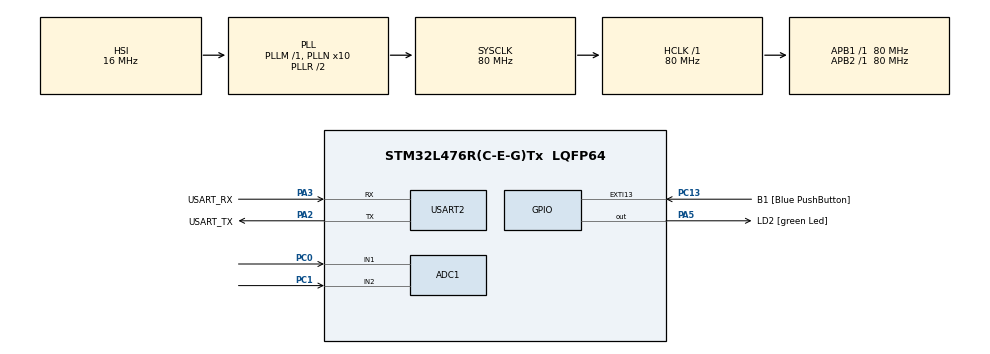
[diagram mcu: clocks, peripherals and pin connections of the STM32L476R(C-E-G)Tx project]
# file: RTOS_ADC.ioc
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ADC1.Channel-0\#ChannelRegularConversion=ADC_CHANNEL_1
ADC1.Channel-3\#ChannelRegularConversion=ADC_CHANNEL_2
ADC1.ClockPrescaler=ADC_CLOCK_ASYNC_DIV8
ADC1.ContinuousConvMode=ENABLE
ADC1.DiscontinuousConvMode=DISABLE
ADC1.EOCSelection=ADC_EOC_SEQ_CONV
ADC1.NbrOfConversion=2
ADC1.NbrOfConversionFlag=1
ADC1.OffsetNumber-0\#ChannelRegularConversion=ADC_OFFSET_NONE
ADC1.OffsetNumber-3\#ChannelRegularConversion=ADC_OFFSET_NONE
ADC1.Overrun=ADC_OVR_DATA_OVERWRITTEN
ADC1.Rank-0\#ChannelRegularConversion=1
ADC1.Rank-3\#ChannelRegularConversion=2
ADC1.SamplingTime-0\#ChannelRegularConversion=ADC_SAMPLETIME_6CYCLES_5
ADC1.SamplingTime-3\#ChannelRegularConversion=ADC_SAMPLETIME_6CYCLES_5
ADC1.master=1
FREERTOS.Tasks01=TaskADC_IN1,24,128,StartTaskADC_IN1,Default,channel,Dynamic,NULL,NULL;TaskADC_IN2,24,128,StartTaskADC_IN2,Default,channel,Dynamic,NULL,NULL
FREERTOS.configUSE_NEWLIB_REENTRANT=1
Mcu.Family=STM32L4
Mcu.Name=STM32L476R(C-E-G)Tx
Mcu.Package=LQFP64
NVIC.PriorityGroup=NVIC_PRIORITYGROUP_4
NVIC.TIM1_UP_TIM16_IRQn=true\:15\:0\:false\:false\:true\:false\:false\:true\:true
NVIC.TimeBase=TIM1_UP_TIM16_IRQn
NVIC.TimeBaseIP=TIM1
PA13\ (JTMS-SWDIO).GPIO_Label=TMS
PA13\ (JTMS-SWDIO).Mode=Serial_Wire
PA13\ (JTMS-SWDIO).Signal=SYS_JTMS-SWDIO
PA14\ (JTCK-SWCLK).GPIO_Label=TCK
PA14\ (JTCK-SWCLK).Mode=Serial_Wire
PA14\ (JTCK-SWCLK).Signal=SYS_JTCK-SWCLK
PA2.GPIO_Label=USART_TX
PA2.GPIO_Mode=GPIO_MODE_AF_PP
PA2.GPIO_PuPd=GPIO_NOPULL
PA2.GPIO_Speed=GPIO_SPEED_FREQ_VERY_HIGH
PA2.Mode=Asynchronous
PA2.Signal=USART2_TX
PA3.GPIO_Label=USART_RX
PA3.GPIO_Mode=GPIO_MODE_AF_PP
PA3.GPIO_PuPd=GPIO_NOPULL
PA3.GPIO_Speed=GPIO_SPEED_FREQ_VERY_HIGH
PA3.Mode=Asynchronous
PA3.Signal=USART2_RX
PA5.GPIO_Label=LD2 [green Led]
PA5.GPIO_ModeDefaultOutputPP=GPIO_MODE_OUTPUT_PP
PA5.GPIO_PuPd=GPIO_NOPULL
PA5.GPIO_Speed=GPIO_SPEED_FREQ_LOW
PA5.Signal=GPIO_Output
PB3\ (JTDO-TRACESWO).GPIO_Label=SWO
PB3\ (JTDO-TRACESWO).Signal=SYS_JTDO-SWO
PC0.Signal=ADCx_IN1
PC1.Signal=ADCx_IN2
PC13.GPIO_Label=B1 [Blue PushButton]
PC13.GPIO_ModeDefaultEXTI=GPIO_MODE_IT_FALLING
PC13.GPIO_PuPd=GPIO_NOPULL
PC13.Signal=GPXTI13
PC14-OSC32_IN\ (PC14).Mode=LSE-External-Oscillator
PC14-OSC32_IN\ (PC14).Signal=RCC_OSC32_IN
PC15-OSC32_OUT\ (PC15).Mode=LSE-External-Oscillator
PC15-OSC32_OUT\ (PC15).Signal=RCC_OSC32_OUT
PH0-OSC_IN\ (PH0).Signal=RCC_OSC_IN
PH1-OSC_OUT\ (PH1).Signal=RCC_OSC_OUT
ProjectManager.HeapSize=0x200
ProjectManager.StackSize=0x400
ProjectManager.TargetToolchain=STM32CubeIDE
RCC.ADCFreq_Value=64000000
RCC.AHBFreq_Value=80000000
RCC.APB1Freq_Value=80000000
RCC.APB1TimFreq_Value=80000000
RCC.APB2Freq_Value=80000000
RCC.APB2TimFreq_Value=80000000
RCC.CortexFreq_Value=80000000
RCC.HCLKFreq_Value=80000000
RCC.HSE_VALUE=8000000
RCC.HSI_VALUE=16000000
RCC.MSI_VALUE=4000000
RCC.PLLN=10
RCC.PLLSourceVirtual=RCC_PLLSOURCE_HSI
RCC.PREFETCH_ENABLE=1
RCC.SYSCLKFreq_VALUE=80000000
RCC.SYSCLKSource=RCC_SYSCLKSOURCE_PLLCLK
RCC.USBFreq_Value=64000000
RCC.VCOOutputFreq_Value=160000000
SH.ADCx_IN1.0=ADC1_IN1,IN1-Single-Ended
SH.ADCx_IN2.0=ADC1_IN2,IN2-Single-Ended
USART2.VirtualMode-Asynchronous=VM_ASYNC
VP_FREERTOS_VS_CMSIS_V2.Mode=CMSIS_V2
VP_SYS_VS_tim1.Mode=TIM1
board=NUCLEO-L476RG

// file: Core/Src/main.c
/* USER CODE BEGIN Header */
/**
  ******************************************************************************
  * @file           : main.c
  * @brief          : Main program body
  ******************************************************************************
  * @attention
  *
  * Copyright (c) 2023 STMicroelectronics.
  * All rights reserved.
  *
  * This software is licensed under terms that can be found in the LICENSE file
  * in the root directory of this software component.
  * If no LICENSE file comes with this software, it is provided AS-IS.
  *
  ******************************************************************************
  */
/* USER CODE END Header */
#include "main.h"
#include "cmsis_os.h"

/* USER CODE BEGIN Includes */
#include <stdio.h>
#include <string.h>
/* USER CODE END Includes */

ADC_HandleTypeDef hadc1;

UART_HandleTypeDef huart2;

/* Definitions for TaskADC_IN1 */
osThreadId_t TaskADC_IN1Handle;
const osThreadAttr_t TaskADC_IN1_attributes = {
  .name = "TaskADC_IN1",
  .stack_size = 128 * 4,
  .priority = (osPriority_t) osPriorityNormal,
};
/* Definitions for TaskADC_IN2 */
osThreadId_t TaskADC_IN2Handle;
const osThreadAttr_t TaskADC_IN2_attributes = {
  .name = "TaskADC_IN2",
  .stack_size = 128 * 4,
  .priority = (osPriority_t) osPriorityNormal,
};
/* USER CODE BEGIN PV */
uint16_t adc[2];
char msg[20];
int *channel;
//int channel == 0;
/* USER CODE END PV */

void SystemClock_Config(void);
static void MX_GPIO_Init(void);
static void MX_USART2_UART_Init(void);
static void MX_ADC1_Init(void);
void StartTaskADC_IN1(void *argument);
void StartTaskADC_IN2(void *argument);

/* USER CODE BEGIN PFP */
//void ADC_Select_CH1(void);
//void ADC_Select_CH2(void);
void ADC_Select_CH(void);
/* USER CODE END PFP */

int main(void)
{

  /* MCU Configuration--------------------------------------------------------*/

  /* Reset of all peripherals, Initializes the Flash interface and the Systick. */
  HAL_Init();

  /* Configure the system clock */
  SystemClock_Config();

  /* Initialize all configured peripherals */
  MX_GPIO_Init();
  MX_USART2_UART_Init();
  MX_ADC1_Init();
  /* USER CODE BEGIN 2 */
  // Get ADC value
  //HAL_ADC_Start(&hadc1);
  //HAL_ADC_PollForConversion(&hadc1, HAL_MAX_DELAY);
  /* USER CODE END 2 */

  /* Init scheduler */
  osKernelInitialize();

  /* Create the thread(s) */
  /* creation of TaskADC_IN1 */
  *channel = 0;
  TaskADC_IN1Handle = osThreadNew(StartTaskADC_IN1, (void*) channel, &TaskADC_IN1_attributes);

  /* creation of TaskADC_IN2 */
  *channel = 1;
  TaskADC_IN2Handle = osThreadNew(StartTaskADC_IN1, (void*) channel, &TaskADC_IN2_attributes);

  /* Start scheduler */
  osKernelStart();
  /* We should never get here as control is now taken by the scheduler */
  /* Infinite loop */
  while (1)
  {

  }
}

void SystemClock_Config(void)
{
  RCC_OscInitTypeDef RCC_OscInitStruct = {0};
  RCC_ClkInitTypeDef RCC_ClkInitStruct = {0};

  /** Configure the main internal regulator output voltage
  */
  if (HAL_PWREx_ControlVoltageScaling(PWR_REGULATOR_VOLTAGE_SCALE1) != HAL_OK)
  {
    Error_Handler();
  }

  /** Initializes the RCC Oscillators according to the specified parameters
  * in the RCC_OscInitTypeDef structure.
  */
  RCC_OscInitStruct.OscillatorType = RCC_OSCILLATORTYPE_HSI;
  RCC_OscInitStruct.HSIState = RCC_HSI_ON;
  RCC_OscInitStruct.HSICalibrationValue = RCC_HSICALIBRATION_DEFAULT;
  RCC_OscInitStruct.PLL.PLLState = RCC_PLL_ON;
  RCC_OscInitStruct.PLL.PLLSource = RCC_PLLSOURCE_HSI;
  RCC_OscInitStruct.PLL.PLLM = 1;
  RCC_OscInitStruct.PLL.PLLN = 10;
  RCC_OscInitStruct.PLL.PLLP = RCC_PLLP_DIV7;
  RCC_OscInitStruct.PLL.PLLQ = RCC_PLLQ_DIV2;
  RCC_OscInitStruct.PLL.PLLR = RCC_PLLR_DIV2;
  if (HAL_RCC_OscConfig(&RCC_OscInitStruct) != HAL_OK)
  {
    Error_Handler();
  }

  /** Initializes the CPU, AHB and APB buses clocks
  */
  RCC_ClkInitStruct.ClockType = RCC_CLOCKTYPE_HCLK|RCC_CLOCKTYPE_SYSCLK
                              |RCC_CLOCKTYPE_PCLK1|RCC_CLOCKTYPE_PCLK2;
  RCC_ClkInitStruct.SYSCLKSource = RCC_SYSCLKSOURCE_PLLCLK;
  RCC_ClkInitStruct.AHBCLKDivider = RCC_SYSCLK_DIV1;
  RCC_ClkInitStruct.APB1CLKDivider = RCC_HCLK_DIV1;
  RCC_ClkInitStruct.APB2CLKDivider = RCC_HCLK_DIV1;

  if (HAL_RCC_ClockConfig(&RCC_ClkInitStruct, FLASH_LATENCY_4) != HAL_OK)
  {
    Error_Handler();
  }
}

static void MX_ADC1_Init(void)
{

  ADC_MultiModeTypeDef multimode = {0};
  //ADC_ChannelConfTypeDef sConfig = {0};

  /** Common config
  */
  hadc1.Instance = ADC1;
  hadc1.Init.ClockPrescaler = ADC_CLOCK_ASYNC_DIV8;
  hadc1.Init.Resolution = ADC_RESOLUTION_12B;
  hadc1.Init.DataAlign = ADC_DATAALIGN_RIGHT;
  hadc1.Init.ScanConvMode = ADC_SCAN_ENABLE;
  hadc1.Init.EOCSelection = ADC_EOC_SEQ_CONV;
  hadc1.Init.LowPowerAutoWait = DISABLE;
  hadc1.Init.ContinuousConvMode = ENABLE;
  hadc1.Init.NbrOfConversion = 2;
  hadc1.Init.DiscontinuousConvMode = DISABLE;
  hadc1.Init.ExternalTrigConv = ADC_SOFTWARE_START;
  hadc1.Init.ExternalTrigConvEdge = ADC_EXTERNALTRIGCONVEDGE_NONE;
  hadc1.Init.DMAContinuousRequests = DISABLE;
  hadc1.Init.Overrun = ADC_OVR_DATA_OVERWRITTEN;
  hadc1.Init.OversamplingMode = DISABLE;
  if (HAL_ADC_Init(&hadc1) != HAL_OK)
  {
    Error_Handler();
  }

  /** Configure the ADC multi-mode
  */
  multimode.Mode = ADC_MODE_INDEPENDENT;
  if (HAL_ADCEx_MultiModeConfigChannel(&hadc1, &multimode) != HAL_OK)
  {
    Error_Handler();
  }

  /** Configure Regular Channel
  */
  /*sConfig.Channel = ADC_CHANNEL_1;
  sConfig.Rank = ADC_REGULAR_RANK_1;
  sConfig.SamplingTime = ADC_SAMPLETIME_6CYCLES_5;
  sConfig.SingleDiff = ADC_SINGLE_ENDED;
  sConfig.OffsetNumber = ADC_OFFSET_NONE;
  sConfig.Offset = 0;
  if (HAL_ADC_ConfigChannel(&hadc1, &sConfig) != HAL_OK)
  {
    Error_Handler();
  }

  /** Configure Regular Channel
  */
  /*sConfig.Channel = ADC_CHANNEL_2;
  sConfig.Rank = ADC_REGULAR_RANK_2;
  if (HAL_ADC_ConfigChannel(&hadc1, &sConfig) != HAL_OK)
  {
    Error_Handler();
  }*/

}

static void MX_USART2_UART_Init(void)
{

  huart2.Instance = USART2;
  huart2.Init.BaudRate = 115200;
  huart2.Init.WordLength = UART_WORDLENGTH_8B;
  huart2.Init.StopBits = UART_STOPBITS_1;
  huart2.Init.Parity = UART_PARITY_NONE;
  huart2.Init.Mode = UART_MODE_TX_RX;
  huart2.Init.HwFlowCtl = UART_HWCONTROL_NONE;
  huart2.Init.OverSampling = UART_OVERSAMPLING_16;
  huart2.Init.OneBitSampling = UART_ONE_BIT_SAMPLE_DISABLE;
  huart2.AdvancedInit.AdvFeatureInit = UART_ADVFEATURE_NO_INIT;
  if (HAL_UART_Init(&huart2) != HAL_OK)
  {
    Error_Handler();
  }

}

static void MX_GPIO_Init(void)
{
  GPIO_InitTypeDef GPIO_InitStruct = {0};

  /* GPIO Ports Clock Enable */
  __HAL_RCC_GPIOC_CLK_ENABLE();
  __HAL_RCC_GPIOH_CLK_ENABLE();
  __HAL_RCC_GPIOA_CLK_ENABLE();
  __HAL_RCC_GPIOB_CLK_ENABLE();

  /*Configure GPIO pin Output Level */
  HAL_GPIO_WritePin(LD2_GPIO_Port, LD2_Pin, GPIO_PIN_RESET);

  /*Configure GPIO pin : B1_Pin */
  GPIO_InitStruct.Pin = B1_Pin;
  GPIO_InitStruct.Mode = GPIO_MODE_IT_FALLING;
  GPIO_InitStruct.Pull = GPIO_NOPULL;
  HAL_GPIO_Init(B1_GPIO_Port, &GPIO_InitStruct);

  /*Configure GPIO pin : LD2_Pin */
  GPIO_InitStruct.Pin = LD2_Pin;
  GPIO_InitStruct.Mode = GPIO_MODE_OUTPUT_PP;
  GPIO_InitStruct.Pull = GPIO_NOPULL;
  GPIO_InitStruct.Speed = GPIO_SPEED_FREQ_LOW;
  HAL_GPIO_Init(LD2_GPIO_Port, &GPIO_InitStruct);

}

/* USER CODE BEGIN 4 */
/*void ADC_Select_CH1(void)
{
  ADC_ChannelConfTypeDef sConfig = {0};
  sConfig.Channel = ADC_CHANNEL_1;
  sConfig.Rank = ADC_REGULAR_RANK_1;
  sConfig.SamplingTime = ADC_SAMPLETIME_24CYCLES_5;
  sConfig.SingleDiff = ADC_SINGLE_ENDED;
  sConfig.OffsetNumber = ADC_OFFSET_NONE;
  sConfig.Offset = 0;
  if (HAL_ADC_ConfigChannel(&hadc1, &sConfig) != HAL_OK)
  {
    Error_Handler();
  }
}

void ADC_Select_CH2(void)
{
  ADC_ChannelConfTypeDef sConfig = {0};
  sConfig.Channel = ADC_CHANNEL_2;
  sConfig.Rank = ADC_REGULAR_RANK_1;
  sConfig.SamplingTime = ADC_SAMPLETIME_24CYCLES_5;
  sConfig.SingleDiff = ADC_SINGLE_ENDED;
  sConfig.OffsetNumber = ADC_OFFSET_NONE;
  sConfig.Offset = 0;
  if (HAL_ADC_ConfigChannel(&hadc1, &sConfig) != HAL_OK)
  {
    Error_Handler();
  }
}*/

void ADC_Select_CH(void)
{
  ADC_ChannelConfTypeDef sConfig = {0};
  if (*channel == 0)
  {
	sConfig.Channel = ADC_CHANNEL_1;
  }
  else
  {
	sConfig.Channel = ADC_CHANNEL_2;
  }
  //{sConfig.Channel = ADC_CHANNEL_1 : sConfig.Channel = ADC_CHANNEL_2;

  sConfig.Rank = ADC_REGULAR_RANK_1;
  sConfig.SamplingTime = ADC_SAMPLETIME_6CYCLES_5;
  sConfig.SingleDiff = ADC_SINGLE_ENDED;
  sConfig.OffsetNumber = ADC_OFFSET_NONE;
  sConfig.Offset = 0;
  if (HAL_ADC_ConfigChannel(&hadc1, &sConfig) != HAL_OK)
  {
    Error_Handler();
  }
}

/* USER CODE END 4 */

void StartTaskADC_IN1(void *argument)
{
  /* USER CODE BEGIN 5 */
  /* Infinite loop */
  for(;;)
  {
	//HAL_ADC_PollForConversion(&hadc1, 10);
	//printf("%s \n", "ADC Input 1");
	//msg[] = "Hai";
	ADC_Select_CH();
	HAL_ADC_Start(&hadc1);
	HAL_ADC_PollForConversion(&hadc1, HAL_MAX_DELAY);
	adc[*channel] = HAL_ADC_GetValue(&hadc1);
	HAL_ADC_Stop(&hadc1);
    osDelay(50);
    //sprintf(msg,"%hu\r\n",adc[0]);
    //HAL_UART_Transmit(&huart2, (uint8_t*)msg, strlen(msg), HAL_MAX_DELAY);
    //vTaskDelay( 250 / portTICK_RATE_MS );
    //printf("%s \n", "ADC Input 1");
  }
  /* USER CODE END 5 */
}

/*void StartTaskADC_IN2(void *argument)
{
  /* USER CODE BEGIN StartTaskADC_IN2 */
  //HAL_ADC_PollForConversion(&hadc1, HAL_MAX_DELAY);
  //adc[1] = HAL_ADC_GetValue(&hadc1);
  /* Infinite loop */
/*  for(;;)
  {
	ADC_Select_CH2();
	HAL_ADC_Start(&hadc1);
	HAL_ADC_PollForConversion(&hadc1, HAL_MAX_DELAY);
	adc[1] = HAL_ADC_GetValue(&hadc1);
    HAL_ADC_Stop(&hadc1);
    osDelay(50);
  }
  /* USER CODE END StartTaskADC_IN2 */
//}

void HAL_TIM_PeriodElapsedCallback(TIM_HandleTypeDef *htim)
{
  if (htim->Instance == TIM1) {
    HAL_IncTick();
  }
}

void Error_Handler(void)
{
  __disable_irq();
  while (1)
  {
  }
}
